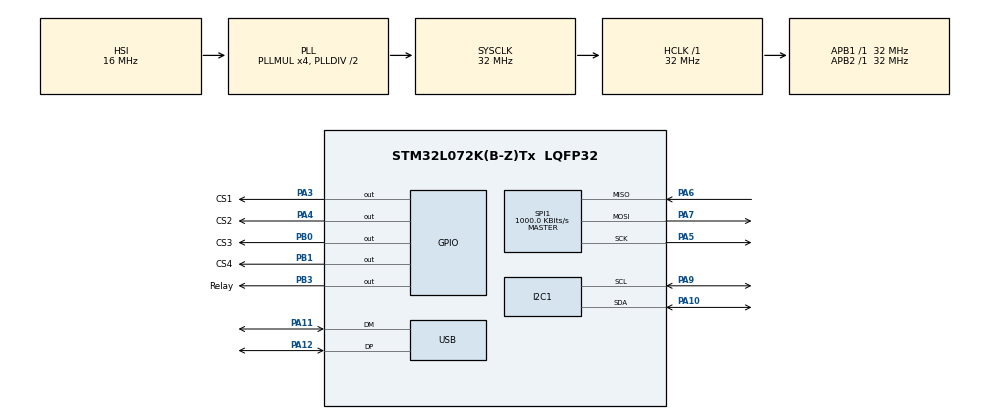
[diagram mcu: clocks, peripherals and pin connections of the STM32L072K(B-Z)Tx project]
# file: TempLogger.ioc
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I2C1.Timing=0x00707CBB
Mcu.Family=STM32L0
Mcu.Name=STM32L072K(B-Z)Tx
Mcu.Package=LQFP32
NVIC.TIM2_IRQn=true\:0\:0\:false\:false\:true\:true\:true
NVIC.USB_IRQn=true\:0\:0\:false\:false\:true\:false\:true
PA10.Mode=I2C
PA10.Signal=I2C1_SDA
PA11.Mode=Device
PA11.Signal=USB_DM
PA12.Mode=Device
PA12.Signal=USB_DP
PA13.Mode=Serial_Wire
PA13.Signal=SYS_SWDIO
PA14.Mode=Serial_Wire
PA14.Signal=SYS_SWCLK
PA3.GPIO_Label=CS1
PA3.PinState=GPIO_PIN_SET
PA3.Signal=GPIO_Output
PA4.GPIO_Label=CS2
PA4.PinState=GPIO_PIN_SET
PA4.Signal=GPIO_Output
PA5.Mode=Full_Duplex_Master
PA5.Signal=SPI1_SCK
PA6.Mode=Full_Duplex_Master
PA6.Signal=SPI1_MISO
PA7.Mode=Full_Duplex_Master
PA7.Signal=SPI1_MOSI
PA9.Mode=I2C
PA9.Signal=I2C1_SCL
PB0.GPIO_Label=CS3
PB0.PinState=GPIO_PIN_SET
PB0.Signal=GPIO_Output
PB1.GPIO_Label=CS4
PB1.PinState=GPIO_PIN_SET
PB1.Signal=GPIO_Output
PB3.GPIO_Label=Relay
PB3.Signal=GPIO_Output
ProjectManager.HeapSize=0x200
ProjectManager.StackSize=0x400
ProjectManager.TargetToolchain=STM32CubeIDE
RCC.AHBFreq_Value=32000000
RCC.APB1Freq_Value=32000000
RCC.APB1TimFreq_Value=32000000
RCC.APB2Freq_Value=32000000
RCC.APB2TimFreq_Value=32000000
RCC.HCLKFreq_Value=32000000
RCC.HSI16_VALUE=16000000
RCC.HSI48MClockSelection=RCC_USBCLKSOURCE_HSI48
RCC.HSI48_VALUE=48000000
RCC.HSI_VALUE=16000000
RCC.LSE_VALUE=32768
RCC.MSI_VALUE=2097000
RCC.PLLMUL=RCC_PLLMUL_4
RCC.SYSCLKFreq_VALUE=32000000
RCC.SYSCLKSource=RCC_SYSCLKSOURCE_PLLCLK
RCC.VCOOutputFreq_Value=64000000
SPI1.BaudRatePrescaler=SPI_BAUDRATEPRESCALER_32
SPI1.CLKPolarity=SPI_POLARITY_LOW
SPI1.CalculateBaudRate=1000.0 KBits/s
SPI1.DataSize=SPI_DATASIZE_8BIT
SPI1.Direction=SPI_DIRECTION_2LINES
SPI1.Mode=SPI_MODE_MASTER
SPI1.VirtualType=VM_MASTER
TIM2.AutoReloadPreload=TIM_AUTORELOAD_PRELOAD_ENABLE
TIM2.Period=999
TIM2.Prescaler=32000
USB_DEVICE.CLASS_NAME_FS=CDC
USB_DEVICE.VirtualMode=Cdc
USB_DEVICE.VirtualModeFS=Cdc_FS
VP_TIM2_VS_ClockSourceINT.Mode=Internal
VP_USB_DEVICE_VS_USB_DEVICE_CDC_FS.Mode=CDC_FS
board=custom

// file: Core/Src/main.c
/* USER CODE BEGIN Header */
/**
  ******************************************************************************
  * @file           : main.c
  * @brief          : Main program body
  ******************************************************************************
  * @attention
  *
  * <h2><center>&copy; Copyright (c) 2020 STMicroelectronics.
  * All rights reserved.</center></h2>
  *
  * This software component is licensed by ST under BSD 3-Clause license,
  * the "License"; You may not use this file except in compliance with the
  * License. You may obtain a copy of the License at:
  *                        opensource.org/licenses/BSD-3-Clause
  *
  ******************************************************************************
  */
/* USER CODE END Header */
#include "main.h"
#include "usb_device.h"

/* USER CODE BEGIN Includes */
//#define max31855
#define oled
#include "string.h"
#include "usbd_cdc_if.h"

#ifdef max31855
  #include "max31855.h"
#else
  #include "max6675.h"
#endif
#ifdef oled
#include "ssd1306.h"
#endif
/* USER CODE END Includes */

I2C_HandleTypeDef hi2c1;

SPI_HandleTypeDef hspi1;

TIM_HandleTypeDef htim2;

/* USER CODE BEGIN PV */
float temperature[4];
int heat;
/* USER CODE END PV */

void SystemClock_Config(void);
static void MX_GPIO_Init(void);
static void MX_SPI1_Init(void);
static void MX_TIM2_Init(void);
static void MX_I2C1_Init(void);

/* USER CODE BEGIN 0 */
void DisplayData() {
 char str[25];
    ssd1306_Fill(Black);
    ssd1306_SetCursor(20, 20);
    sprintf(&str[0],"%.1fC",temperature[0]);
    ssd1306_WriteString(str, Font_16x26, White);
    ssd1306_SetCursor(130-16, 64-26);
    if (heat>0) ssd1306_WriteString("*", Font_16x26, White); else ssd1306_WriteString(" ", Font_16x26, White);
    ssd1306_UpdateScreen();
}

void Heat() {
	if (temperature[0]>600) {
		HAL_GPIO_WritePin(Relay_GPIO_Port, Relay_Pin, GPIO_PIN_RESET);
		heat=0;
	}
	if (temperature[0]<580) {
		HAL_GPIO_WritePin(Relay_GPIO_Port, Relay_Pin, GPIO_PIN_SET);
		heat=1;
	}

}

/* USER CODE END 0 */

int main(void)
{

  /* MCU Configuration--------------------------------------------------------*/

  /* Reset of all peripherals, Initializes the Flash interface and the Systick. */
  HAL_Init();

  /* Configure the system clock */
  SystemClock_Config();

  /* Initialize all configured peripherals */
  MX_GPIO_Init();
  MX_SPI1_Init();
  MX_TIM2_Init();
  MX_USB_DEVICE_Init();
  MX_I2C1_Init();
  /* USER CODE BEGIN 2 */
#ifdef oled
  ssd1306_Init();
  DisplayData();
#endif
#ifdef max31855
  max31855_init();
#else
  max6675_init();
#endif
  /* USER CODE END 2 */

  /* Infinite loop */
  /* USER CODE BEGIN WHILE */
  while (1)
  {
	  uint8_t buffer[200];

	  temperature[0]= max6675_readTemp(3);
	  Heat();
	  DisplayData();

/*	  for (int i=0; i<4; i++) {
        #ifdef max31855
		  temperature[i]= max31855_readTemp(i);
        #elif
		  temperature[i]= max6675_readTemp(i);
        #endif
		  HAL_Delay(1);
	  }*/

	  int len=sprintf(&buffer,"{\"temp1\":%.2f,\"temp2\":%.2f,\"temp3\":%.2f,\"temp4\":%.2f}\r\n",temperature[3],temperature[0],temperature[1],temperature[2]);
	  CDC_Transmit_FS(buffer, len);
	  HAL_Delay(300);
    /* USER CODE END WHILE */

  }
}

void SystemClock_Config(void)
{
  RCC_OscInitTypeDef RCC_OscInitStruct = {0};
  RCC_ClkInitTypeDef RCC_ClkInitStruct = {0};
  RCC_PeriphCLKInitTypeDef PeriphClkInit = {0};

  /** Configure the main internal regulator output voltage
  */
  __HAL_PWR_VOLTAGESCALING_CONFIG(PWR_REGULATOR_VOLTAGE_SCALE1);
  /** Initializes the RCC Oscillators according to the specified parameters
  * in the RCC_OscInitTypeDef structure.
  */
  RCC_OscInitStruct.OscillatorType = RCC_OSCILLATORTYPE_HSI|RCC_OSCILLATORTYPE_HSI48;
  RCC_OscInitStruct.HSIState = RCC_HSI_ON;
  RCC_OscInitStruct.HSICalibrationValue = RCC_HSICALIBRATION_DEFAULT;
  RCC_OscInitStruct.HSI48State = RCC_HSI48_ON;
  RCC_OscInitStruct.PLL.PLLState = RCC_PLL_ON;
  RCC_OscInitStruct.PLL.PLLSource = RCC_PLLSOURCE_HSI;
  RCC_OscInitStruct.PLL.PLLMUL = RCC_PLLMUL_4;
  RCC_OscInitStruct.PLL.PLLDIV = RCC_PLLDIV_2;
  if (HAL_RCC_OscConfig(&RCC_OscInitStruct) != HAL_OK)
  {
    Error_Handler();
  }
  /** Initializes the CPU, AHB and APB buses clocks
  */
  RCC_ClkInitStruct.ClockType = RCC_CLOCKTYPE_HCLK|RCC_CLOCKTYPE_SYSCLK
                              |RCC_CLOCKTYPE_PCLK1|RCC_CLOCKTYPE_PCLK2;
  RCC_ClkInitStruct.SYSCLKSource = RCC_SYSCLKSOURCE_PLLCLK;
  RCC_ClkInitStruct.AHBCLKDivider = RCC_SYSCLK_DIV1;
  RCC_ClkInitStruct.APB1CLKDivider = RCC_HCLK_DIV1;
  RCC_ClkInitStruct.APB2CLKDivider = RCC_HCLK_DIV1;

  if (HAL_RCC_ClockConfig(&RCC_ClkInitStruct, FLASH_LATENCY_1) != HAL_OK)
  {
    Error_Handler();
  }
  PeriphClkInit.PeriphClockSelection = RCC_PERIPHCLK_I2C1|RCC_PERIPHCLK_USB;
  PeriphClkInit.I2c1ClockSelection = RCC_I2C1CLKSOURCE_PCLK1;
  PeriphClkInit.UsbClockSelection = RCC_USBCLKSOURCE_HSI48;
  if (HAL_RCCEx_PeriphCLKConfig(&PeriphClkInit) != HAL_OK)
  {
    Error_Handler();
  }
}

static void MX_I2C1_Init(void)
{

  hi2c1.Instance = I2C1;
  hi2c1.Init.Timing = 0x00707CBB;
  hi2c1.Init.OwnAddress1 = 0;
  hi2c1.Init.AddressingMode = I2C_ADDRESSINGMODE_7BIT;
  hi2c1.Init.DualAddressMode = I2C_DUALADDRESS_DISABLE;
  hi2c1.Init.OwnAddress2 = 0;
  hi2c1.Init.OwnAddress2Masks = I2C_OA2_NOMASK;
  hi2c1.Init.GeneralCallMode = I2C_GENERALCALL_DISABLE;
  hi2c1.Init.NoStretchMode = I2C_NOSTRETCH_DISABLE;
  if (HAL_I2C_Init(&hi2c1) != HAL_OK)
  {
    Error_Handler();
  }
  /** Configure Analogue filter
  */
  if (HAL_I2CEx_ConfigAnalogFilter(&hi2c1, I2C_ANALOGFILTER_ENABLE) != HAL_OK)
  {
    Error_Handler();
  }
  /** Configure Digital filter
  */
  if (HAL_I2CEx_ConfigDigitalFilter(&hi2c1, 0) != HAL_OK)
  {
    Error_Handler();
  }

}

static void MX_SPI1_Init(void)
{

  /* SPI1 parameter configuration*/
  hspi1.Instance = SPI1;
  hspi1.Init.Mode = SPI_MODE_MASTER;
  hspi1.Init.Direction = SPI_DIRECTION_2LINES;
  hspi1.Init.DataSize = SPI_DATASIZE_8BIT;
  hspi1.Init.CLKPolarity = SPI_POLARITY_LOW;
  hspi1.Init.CLKPhase = SPI_PHASE_1EDGE;
  hspi1.Init.NSS = SPI_NSS_SOFT;
  hspi1.Init.BaudRatePrescaler = SPI_BAUDRATEPRESCALER_32;
  hspi1.Init.FirstBit = SPI_FIRSTBIT_MSB;
  hspi1.Init.TIMode = SPI_TIMODE_DISABLE;
  hspi1.Init.CRCCalculation = SPI_CRCCALCULATION_DISABLE;
  hspi1.Init.CRCPolynomial = 7;
  if (HAL_SPI_Init(&hspi1) != HAL_OK)
  {
    Error_Handler();
  }

}

static void MX_TIM2_Init(void)
{

  TIM_ClockConfigTypeDef sClockSourceConfig = {0};
  TIM_MasterConfigTypeDef sMasterConfig = {0};

  htim2.Instance = TIM2;
  htim2.Init.Prescaler = 32000;
  htim2.Init.CounterMode = TIM_COUNTERMODE_UP;
  htim2.Init.Period = 999;
  htim2.Init.ClockDivision = TIM_CLOCKDIVISION_DIV1;
  htim2.Init.AutoReloadPreload = TIM_AUTORELOAD_PRELOAD_ENABLE;
  if (HAL_TIM_Base_Init(&htim2) != HAL_OK)
  {
    Error_Handler();
  }
  sClockSourceConfig.ClockSource = TIM_CLOCKSOURCE_INTERNAL;
  if (HAL_TIM_ConfigClockSource(&htim2, &sClockSourceConfig) != HAL_OK)
  {
    Error_Handler();
  }
  sMasterConfig.MasterOutputTrigger = TIM_TRGO_RESET;
  sMasterConfig.MasterSlaveMode = TIM_MASTERSLAVEMODE_DISABLE;
  if (HAL_TIMEx_MasterConfigSynchronization(&htim2, &sMasterConfig) != HAL_OK)
  {
    Error_Handler();
  }

}

static void MX_GPIO_Init(void)
{
  GPIO_InitTypeDef GPIO_InitStruct = {0};

  /* GPIO Ports Clock Enable */
  __HAL_RCC_GPIOA_CLK_ENABLE();
  __HAL_RCC_GPIOB_CLK_ENABLE();

  /*Configure GPIO pin Output Level */
  HAL_GPIO_WritePin(GPIOA, CS1_Pin|CS2_Pin, GPIO_PIN_SET);

  /*Configure GPIO pin Output Level */
  HAL_GPIO_WritePin(GPIOB, CS3_Pin|CS4_Pin, GPIO_PIN_SET);

  /*Configure GPIO pin Output Level */
  HAL_GPIO_WritePin(Relay_GPIO_Port, Relay_Pin, GPIO_PIN_RESET);

  /*Configure GPIO pins : CS1_Pin CS2_Pin */
  GPIO_InitStruct.Pin = CS1_Pin|CS2_Pin;
  GPIO_InitStruct.Mode = GPIO_MODE_OUTPUT_PP;
  GPIO_InitStruct.Pull = GPIO_NOPULL;
  GPIO_InitStruct.Speed = GPIO_SPEED_FREQ_LOW;
  HAL_GPIO_Init(GPIOA, &GPIO_InitStruct);

  /*Configure GPIO pins : CS3_Pin CS4_Pin Relay_Pin */
  GPIO_InitStruct.Pin = CS3_Pin|CS4_Pin|Relay_Pin;
  GPIO_InitStruct.Mode = GPIO_MODE_OUTPUT_PP;
  GPIO_InitStruct.Pull = GPIO_NOPULL;
  GPIO_InitStruct.Speed = GPIO_SPEED_FREQ_LOW;
  HAL_GPIO_Init(GPIOB, &GPIO_InitStruct);

}

void Error_Handler(void)
{
}

/************************ (C) COPYRIGHT STMicroelectronics *****END OF FILE****/
